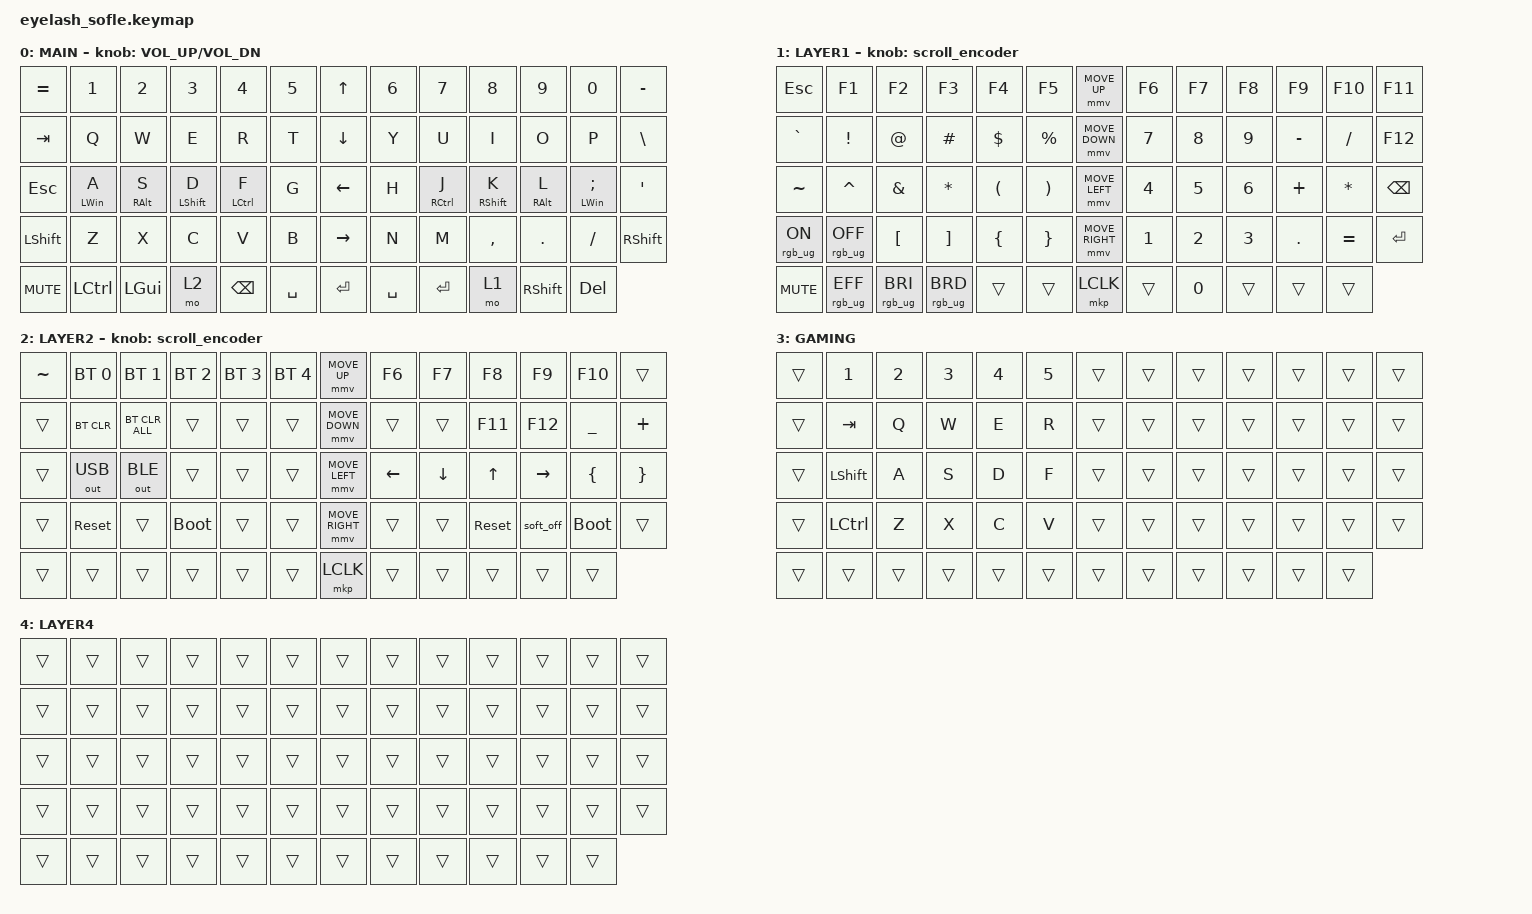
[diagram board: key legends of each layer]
#define ZMK_POINTING_DEFAULT_MOVE_VAL 1200  // 600
#define ZMK_POINTING_DEFAULT_SCRL_VAL 25   // 10

#include <input/processors.dtsi>
#include <zephyr/dt-bindings/input/input-event-codes.h>
#include <behaviors.dtsi>
#include <dt-bindings/zmk/bt.h>
#include <dt-bindings/zmk/keys.h>
#include <dt-bindings/zmk/outputs.h>
#include <dt-bindings/zmk/pointing.h>
#include <dt-bindings/zmk/rgb.h>

&mmv_input_listener { input-processors = <&zip_xy_scaler 2 1>; };

&msc_input_listener { input-processors = <&zip_scroll_scaler 2 1>; };

&msc {
    acceleration-exponent = <1>;      // 0
    time-to-max-speed-ms = <100>;       // 300
    delay-ms = <0>;                   // 0
};

&mmv {
    time-to-max-speed-ms = <500>;
    acceleration-exponent = <1>;
    trigger-period-ms = <16>;
};

&mt {
    tapping-term-ms = <280>;
    flavor = "balanced";
    require-prior-idle-ms = <125>;
    quick-tap-ms = <175>;
    hold-trigger-on-release;
};

&soft_off { hold-time-ms = <2000>; };

/ {
    scroll_encoder: scroll_encoder {
        compatible = "zmk,behavior-sensor-rotate";
        #sensor-binding-cells = <0>;
        bindings = <&msc SCRL_DOWN>, <&msc SCRL_UP>;

        tap-ms = <100>;
    };

    behaviors {
    };

    combos {
        compatible = "zmk,combos";

        GamingMode {
            bindings = <&tog 3>;
            key-positions = <0 12>;
            layers = <0 3>;
        };

        softoff {
            bindings = <&soft_off>;
            key-positions = <14 28 40>;
        };
    };

    macros {
        SHIFT_MCLK: SHIFT_MCLK {
            compatible = "zmk,behavior-macro";
            #binding-cells = <0>;
            bindings =
                <&macro_press>,
                <&kp LEFT_SHIFT>,
                <&macro_press>,
                <&mkp MB3>,
                <&macro_pause_for_release>,
                <&macro_release>,
                <&kp LEFT_SHIFT &mkp MB3>;

            label = "SHIFT_MCLK";
        };
    };

    keymap {
        compatible = "zmk,keymap";

        layer0 {
            bindings = <
&kp EQUAL   &kp N1          &kp N2           &kp N3            &kp N4              &kp N5       &kp UP_ARROW     &kp N6     &kp N7               &kp N8             &kp N9           &kp N0                  &kp MINUS
&kp TAB     &kp Q           &kp W            &kp E             &kp R               &kp T        &kp DOWN_ARROW   &kp Y      &kp U                &kp I              &kp O            &kp P                   &kp BSLH
&kp ESCAPE  &mt LEFT_WIN A  &mt RIGHT_ALT S  &mt LEFT_SHIFT D  &mt LEFT_CONTROL F  &kp G        &kp LEFT_ARROW   &kp H      &mt RIGHT_CONTROL J  &mt RIGHT_SHIFT K  &mt RIGHT_ALT L  &mt LEFT_WIN SEMICOLON  &kp APOS
&kp LSHFT   &kp Z           &kp X            &kp C             &kp V               &kp B        &kp RIGHT_ARROW  &kp N      &kp M                &kp COMMA          &kp DOT          &kp FSLH                &kp RIGHT_SHIFT
&kp C_MUTE  &kp LCTRL       &kp LEFT_GUI     &mo 2             &kp BACKSPACE       &kp SPACE    &kp ENTER        &kp SPACE  &kp ENTER            &mo 1              &kp RIGHT_SHIFT  &kp DELETE
            >;

            sensor-bindings = <&inc_dec_kp C_VOLUME_UP C_VOL_DN>;
            display-name = "MAIN";
        };

        layer_1 {
            bindings = <
&kp ESCAPE      &kp F1           &kp F2            &kp F3             &kp F4                &kp F5                   &mmv MOVE_UP     &kp F6        &kp F7        &kp F8        &kp F9      &kp F10       &kp F11
&kp GRAVE       &kp EXCLAMATION  &kp AT_SIGN       &kp HASH           &kp DOLLAR            &kp PERCENT              &mmv MOVE_DOWN   &kp NUMBER_7  &kp NUMBER_8  &kp NUMBER_9  &kp MINUS   &kp SLASH     &kp F12
&kp TILDE       &kp CARET        &kp AMPERSAND     &kp ASTERISK       &kp LEFT_PARENTHESIS  &kp RIGHT_PARENTHESIS    &mmv MOVE_LEFT   &kp NUMBER_4  &kp NUMBER_5  &kp NUMBER_6  &kp PLUS    &kp ASTERISK  &kp BACKSPACE
&rgb_ug RGB_ON  &rgb_ug RGB_OFF  &kp LEFT_BRACKET  &kp RIGHT_BRACKET  &kp LEFT_BRACE        &kp RIGHT_BRACE          &mmv MOVE_RIGHT  &kp NUMBER_1  &kp NUMBER_2  &kp NUMBER_3  &kp PERIOD  &kp EQUAL     &kp ENTER
&kp C_MUTE      &rgb_ug RGB_EFF  &rgb_ug RGB_BRI   &rgb_ug RGB_BRD    &trans                &trans                   &mkp LCLK        &trans        &kp NUMBER_0  &trans        &trans      &trans
            >;

            display-name = "LAYER1";
            sensor-bindings = <&scroll_encoder>;
        };

        layer_2 {
            bindings = <
&kp TILDE  &bt BT_SEL 0  &bt BT_SEL 1    &bt BT_SEL 2  &bt BT_SEL 3  &bt BT_SEL 4    &mmv MOVE_UP     &kp F6    &kp F7    &kp F8        &kp F9     &kp F10      &trans
&trans     &bt BT_CLR    &bt BT_CLR_ALL  &trans        &trans        &trans          &mmv MOVE_DOWN   &trans    &trans    &kp F11       &kp F12    &kp UNDER    &kp PLUS
&trans     &out OUT_USB  &out OUT_BLE    &trans        &trans        &trans          &mmv MOVE_LEFT   &kp LEFT  &kp DOWN  &kp UP_ARROW  &kp RIGHT  &kp LBRC     &kp RBRC
&trans     &sys_reset    &trans          &bootloader   &trans        &trans          &mmv MOVE_RIGHT  &trans    &trans    &sys_reset    &soft_off  &bootloader  &trans
&trans     &trans        &trans          &trans        &trans        &trans          &mkp LCLK        &trans    &trans    &trans        &trans     &trans
            >;

            sensor-bindings = <&scroll_encoder>;
            display-name = "LAYER2";
        };

        GAMING {
            bindings = <
&trans  &kp N1     &kp N2  &kp N3  &kp N4  &kp N5    &trans  &trans  &trans  &trans  &trans  &trans  &trans
&trans  &kp TAB    &kp Q   &kp W   &kp E   &kp R     &trans  &trans  &trans  &trans  &trans  &trans  &trans
&trans  &kp LSHFT  &kp A   &kp S   &kp D   &kp F     &trans  &trans  &trans  &trans  &trans  &trans  &trans
&trans  &kp LCTRL  &kp Z   &kp X   &kp C   &kp V     &trans  &trans  &trans  &trans  &trans  &trans  &trans
&trans  &trans     &trans  &trans  &trans  &trans    &trans  &trans  &trans  &trans  &trans  &trans
            >;

            display-name = "GAMING";
        };

        layer_4 {
            bindings = <
&trans  &trans  &trans  &trans  &trans  &trans    &trans  &trans  &trans  &trans  &trans  &trans  &trans
&trans  &trans  &trans  &trans  &trans  &trans    &trans  &trans  &trans  &trans  &trans  &trans  &trans
&trans  &trans  &trans  &trans  &trans  &trans    &trans  &trans  &trans  &trans  &trans  &trans  &trans
&trans  &trans  &trans  &trans  &trans  &trans    &trans  &trans  &trans  &trans  &trans  &trans  &trans
&trans  &trans  &trans  &trans  &trans  &trans    &trans  &trans  &trans  &trans  &trans  &trans
            >;

            display-name = "LAYER4";
        };
    };
};
